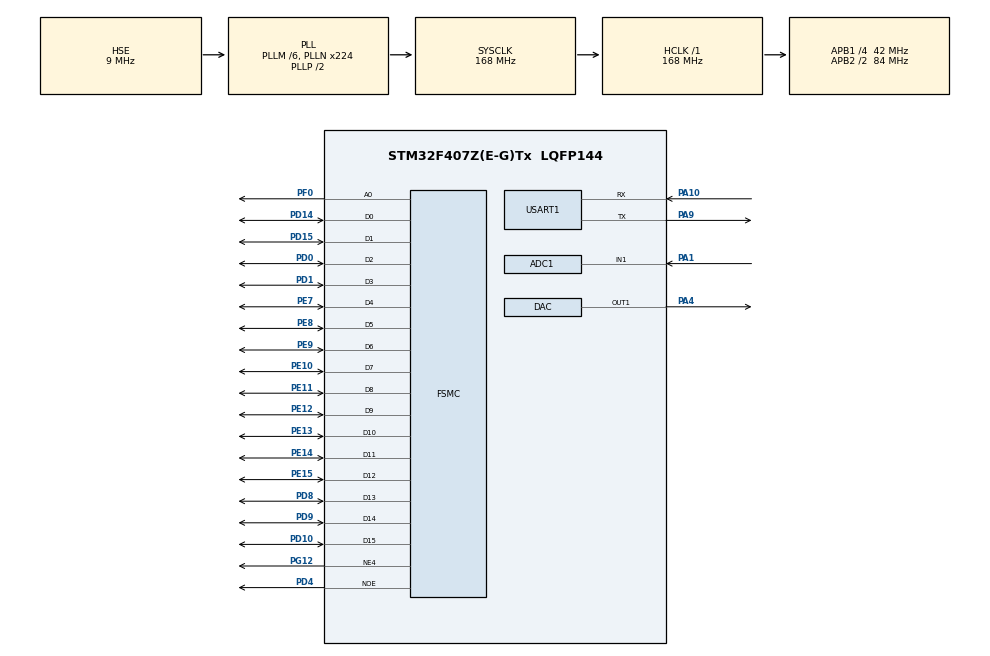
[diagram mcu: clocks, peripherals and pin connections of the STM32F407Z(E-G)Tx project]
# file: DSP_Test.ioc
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ADC1.Channel-0\#ChannelRegularConversion=ADC_CHANNEL_1
ADC1.ContinuousConvMode=ENABLE
ADC1.ExternalTrigConv=ADC_EXTERNALTRIGCONV_T2_TRGO
ADC1.NbrOfConversionFlag=1
ADC1.SamplingTime-0\#ChannelRegularConversion=ADC_SAMPLETIME_56CYCLES
ADC1.master=1
Dma.ADC1.1.Direction=DMA_PERIPH_TO_MEMORY
Dma.ADC1.1.FIFOMode=DMA_FIFOMODE_DISABLE
Dma.ADC1.1.Instance=DMA2_Stream0
Dma.ADC1.1.MemDataAlignment=DMA_MDATAALIGN_HALFWORD
Dma.ADC1.1.MemInc=DMA_MINC_ENABLE
Dma.ADC1.1.Mode=DMA_CIRCULAR
Dma.ADC1.1.PeriphDataAlignment=DMA_PDATAALIGN_HALFWORD
Dma.ADC1.1.PeriphInc=DMA_PINC_DISABLE
Dma.ADC1.1.Priority=DMA_PRIORITY_LOW
Dma.DAC1.0.Direction=DMA_MEMORY_TO_PERIPH
Dma.DAC1.0.FIFOMode=DMA_FIFOMODE_DISABLE
Dma.DAC1.0.Instance=DMA1_Stream5
Dma.DAC1.0.MemDataAlignment=DMA_MDATAALIGN_HALFWORD
Dma.DAC1.0.MemInc=DMA_MINC_ENABLE
Dma.DAC1.0.Mode=DMA_CIRCULAR
Dma.DAC1.0.PeriphDataAlignment=DMA_PDATAALIGN_HALFWORD
Dma.DAC1.0.PeriphInc=DMA_PINC_DISABLE
Dma.DAC1.0.Priority=DMA_PRIORITY_LOW
Dma.Request0=DAC1
Dma.Request1=ADC1
FSMC.AddressSetupTime4=3
FSMC.DataSetupTime4=4
Mcu.Family=STM32F4
Mcu.Name=STM32F407Z(E-G)Tx
Mcu.Package=LQFP144
NVIC.ADC_IRQn=true\:0\:0\:false\:false\:true\:true\:true\:true
NVIC.DMA1_Stream5_IRQn=true\:0\:0\:false\:false\:true\:false\:true\:true
NVIC.DMA2_Stream0_IRQn=true\:0\:0\:false\:false\:true\:false\:true\:true
NVIC.PriorityGroup=NVIC_PRIORITYGROUP_4
NVIC.TIM2_IRQn=true\:0\:0\:false\:false\:true\:true\:true\:true
PA1.Signal=ADCx_IN1
PA10.Mode=Asynchronous
PA10.Signal=USART1_RX
PA13.Mode=Serial_Wire
PA13.Signal=SYS_JTMS-SWDIO
PA14.Mode=Serial_Wire
PA14.Signal=SYS_JTCK-SWCLK
PA4.Signal=COMP_DAC1_group
PA9.Mode=Asynchronous
PA9.Signal=USART1_TX
PC14-OSC32_IN.Mode=LSE-External-Oscillator
PC14-OSC32_IN.Signal=RCC_OSC32_IN
PC15-OSC32_OUT.Mode=LSE-External-Oscillator
PC15-OSC32_OUT.Signal=RCC_OSC32_OUT
PD0.Signal=FSMC_D2_DA2
PD1.Signal=FSMC_D3_DA3
PD10.Signal=FSMC_D15_DA15
PD14.Signal=FSMC_D0_DA0
PD15.Signal=FSMC_D1_DA1
PD4.Signal=FSMC_NOE
PD8.Signal=FSMC_D13_DA13
PD9.Signal=FSMC_D14_DA14
PE10.Signal=FSMC_D7_DA7
PE11.Signal=FSMC_D8_DA8
PE12.Signal=FSMC_D9_DA9
PE13.Signal=FSMC_D10_DA10
PE14.Signal=FSMC_D11_DA11
PE15.Signal=FSMC_D12_DA12
PE7.Signal=FSMC_D4_DA4
PE8.Signal=FSMC_D5_DA5
PE9.Signal=FSMC_D6_DA6
PF0.Signal=FSMC_A0
PG12.Mode=NorPsramChipSelect4_4
PG12.Signal=FSMC_NE4
PH0-OSC_IN.Mode=HSE-External-Oscillator
PH0-OSC_IN.Signal=RCC_OSC_IN
PH1-OSC_OUT.Mode=HSE-External-Oscillator
PH1-OSC_OUT.Signal=RCC_OSC_OUT
ProjectManager.HeapSize=0x800
ProjectManager.StackSize=0x400
ProjectManager.TargetToolchain=STM32CubeIDE
RCC.48MHZClocksFreq_Value=84000000
RCC.AHBFreq_Value=168000000
RCC.APB1CLKDivider=RCC_HCLK_DIV4
RCC.APB1Freq_Value=42000000
RCC.APB1TimFreq_Value=84000000
RCC.APB2CLKDivider=RCC_HCLK_DIV2
RCC.APB2Freq_Value=84000000
RCC.APB2TimFreq_Value=168000000
RCC.CortexFreq_Value=168000000
RCC.HCLKFreq_Value=168000000
RCC.HSE_VALUE=9000000
RCC.HSI_VALUE=16000000
RCC.PLLM=6
RCC.PLLN=224
RCC.PLLSourceVirtual=RCC_PLLSOURCE_HSE
RCC.SYSCLKFreq_VALUE=168000000
RCC.SYSCLKSource=RCC_SYSCLKSOURCE_PLLCLK
RCC.VCOOutputFreq_Value=336000000
SH.ADCx_IN1.0=ADC1_IN1,IN1
SH.COMP_DAC1_group.0=DAC_OUT1,DAC_OUT1
SH.FSMC_A0.0=FSMC_A0,1b-a4
SH.FSMC_D0_DA0.0=FSMC_D0,16b-d4
SH.FSMC_D10_DA10.0=FSMC_D10,16b-d4
SH.FSMC_D11_DA11.0=FSMC_D11,16b-d4
SH.FSMC_D12_DA12.0=FSMC_D12,16b-d4
SH.FSMC_D13_DA13.0=FSMC_D13,16b-d4
SH.FSMC_D14_DA14.0=FSMC_D14,16b-d4
SH.FSMC_D15_DA15.0=FSMC_D15,16b-d4
SH.FSMC_D1_DA1.0=FSMC_D1,16b-d4
SH.FSMC_D2_DA2.0=FSMC_D2,16b-d4
SH.FSMC_D3_DA3.0=FSMC_D3,16b-d4
SH.FSMC_D4_DA4.0=FSMC_D4,16b-d4
SH.FSMC_D5_DA5.0=FSMC_D5,16b-d4
SH.FSMC_D6_DA6.0=FSMC_D6,16b-d4
SH.FSMC_D7_DA7.0=FSMC_D7,16b-d4
SH.FSMC_D8_DA8.0=FSMC_D8,16b-d4
SH.FSMC_D9_DA9.0=FSMC_D9,16b-d4
SH.FSMC_NOE.0=FSMC_NOE,Rom4
TIM2.Channel-Output\ Compare1\ No\ Output=TIM_CHANNEL_1
TIM2.Period=2100-1
TIM2.Prescaler=0
TIM2.TIM_MasterOutputTrigger=TIM_TRGO_UPDATE
USART1.VirtualMode=VM_ASYNC
VP_TIM2_VS_ClockSourceINT.Mode=Internal
VP_TIM2_VS_no_output1.Mode=Output Compare1 No Output
board=custom

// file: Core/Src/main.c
/* USER CODE BEGIN Header */
/**
  ******************************************************************************
  * @file           : main.c
  * @brief          : Main program body
  ******************************************************************************
  * @attention
  *
  * Copyright (c) 2023 STMicroelectronics.
  * All rights reserved.
  *
  * This software is licensed under terms that can be found in the LICENSE file
  * in the root directory of this software component.
  * If no LICENSE file comes with this software, it is provided AS-IS.
  *
  ******************************************************************************
  */
/* USER CODE END Header */
#include "main.h"
#include "adc.h"
#include "dac.h"
#include "dma.h"
#include "tim.h"
#include "usart.h"
#include "gpio.h"
#include "fsmc.h"

/* USER CODE BEGIN Includes */
#include "base.h"
#include "arm_math.h"
#include "arm_const_structs.h"
#include "arm_common_tables.h"
#include "iir.h"
/* USER CODE END Includes */

/* USER CODE BEGIN PTD */
//#define PI 3.14159265358979
#include "stdio.h"
int __io_putchar(int ch)
{
    HAL_UART_Transmit(&huart1, (uint8_t *)&ch, 1, 0xFFFF);
    return ch;
}
/* USER CODE END PTD */

/* USER CODE BEGIN PM */
extern float32_t testInput[TEST_LENGTH_SAMPLES]; /* 采样点 */
extern float32_t testOutput[TEST_LENGTH_SAMPLES];
float input = 0;
float output = 0;
uint16_t ADC_Value;
/* USER CODE END PM */

void SystemClock_Config(void);

int main(void)
{

  /* MCU Configuration--------------------------------------------------------*/

  /* Reset of all peripherals, Initializes the Flash interface and the Systick. */
  HAL_Init();

  /* Configure the system clock */
  SystemClock_Config();

  /* Initialize all configured peripherals */
  MX_GPIO_Init();
  MX_DMA_Init();
  MX_ADC1_Init();
  MX_TIM2_Init();
  MX_DAC_Init();
  MX_USART1_UART_Init();
  MX_FSMC_Init();
  /* USER CODE BEGIN 2 */
  HAL_TIM_Base_Start_IT(&htim2);

  /* USER CODE END 2 */

  /* Infinite loop */
  while (1)
  {

  }
}

void SystemClock_Config(void)
{
  RCC_OscInitTypeDef RCC_OscInitStruct = {0};
  RCC_ClkInitTypeDef RCC_ClkInitStruct = {0};

  /** Configure the main internal regulator output voltage
  */
  __HAL_RCC_PWR_CLK_ENABLE();
  __HAL_PWR_VOLTAGESCALING_CONFIG(PWR_REGULATOR_VOLTAGE_SCALE1);

  /** Initializes the RCC Oscillators according to the specified parameters
  * in the RCC_OscInitTypeDef structure.
  */
  RCC_OscInitStruct.OscillatorType = RCC_OSCILLATORTYPE_HSE;
  RCC_OscInitStruct.HSEState = RCC_HSE_ON;
  RCC_OscInitStruct.PLL.PLLState = RCC_PLL_ON;
  RCC_OscInitStruct.PLL.PLLSource = RCC_PLLSOURCE_HSE;
  RCC_OscInitStruct.PLL.PLLM = 6;
  RCC_OscInitStruct.PLL.PLLN = 224;
  RCC_OscInitStruct.PLL.PLLP = RCC_PLLP_DIV2;
  RCC_OscInitStruct.PLL.PLLQ = 4;
  if (HAL_RCC_OscConfig(&RCC_OscInitStruct) != HAL_OK)
  {
    Error_Handler();
  }

  /** Initializes the CPU, AHB and APB buses clocks
  */
  RCC_ClkInitStruct.ClockType = RCC_CLOCKTYPE_HCLK|RCC_CLOCKTYPE_SYSCLK
                              |RCC_CLOCKTYPE_PCLK1|RCC_CLOCKTYPE_PCLK2;
  RCC_ClkInitStruct.SYSCLKSource = RCC_SYSCLKSOURCE_PLLCLK;
  RCC_ClkInitStruct.AHBCLKDivider = RCC_SYSCLK_DIV1;
  RCC_ClkInitStruct.APB1CLKDivider = RCC_HCLK_DIV4;
  RCC_ClkInitStruct.APB2CLKDivider = RCC_HCLK_DIV2;

  if (HAL_RCC_ClockConfig(&RCC_ClkInitStruct, FLASH_LATENCY_5) != HAL_OK)
  {
    Error_Handler();
  }
}

/* USER CODE BEGIN 4 */
void HAL_TIM_PeriodElapsedCallback(TIM_HandleTypeDef *htim)    //定时器中断回调
{
	HAL_ADC_Start_DMA(&hadc1, (uint32_t *)testInput, 1);
	HAL_DAC_Start_DMA(&hdac, DAC_CHANNEL_1, (uint32_t *)testOutput, 1, DAC_ALIGN_12B_R);
}

/* USER CODE END 4 */

void Error_Handler(void)
{
  __disable_irq();
  while (1)
  {
  }
}
